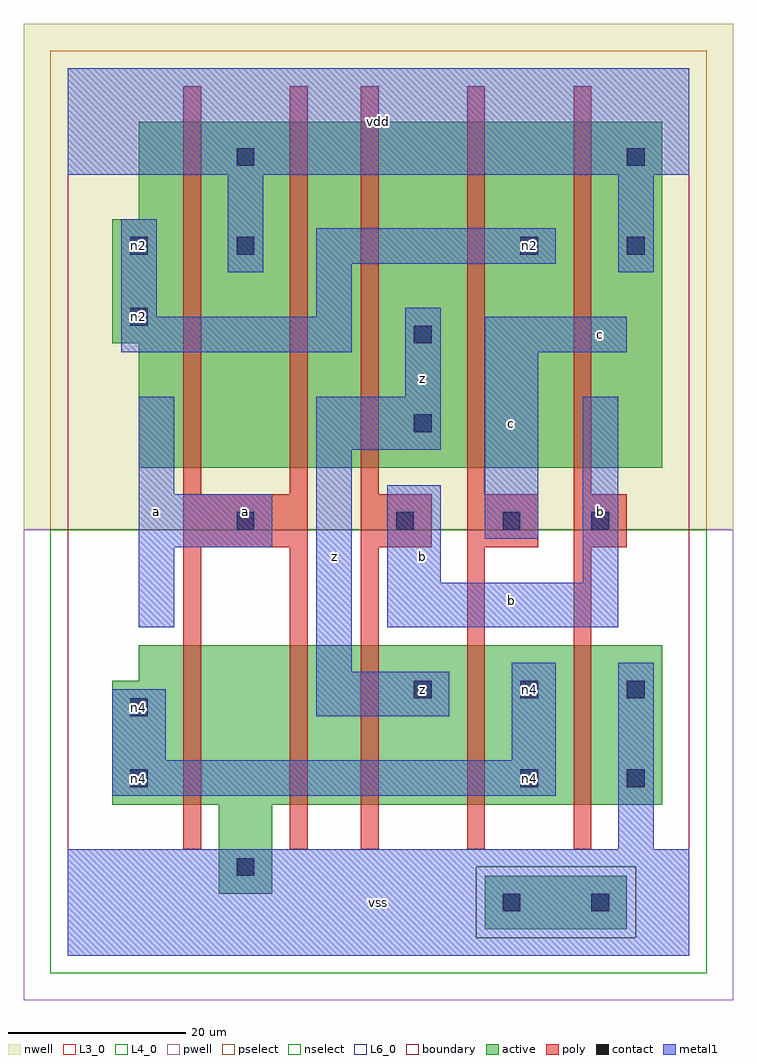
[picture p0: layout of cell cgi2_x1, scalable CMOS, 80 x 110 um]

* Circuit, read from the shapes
.subckt cgi2_x1 a b c n2 n4 vdd vss z
M1 vss a n4 vss nfet w=18u l=2u
M2 n1 a vss vss nfet w=18u l=2u
M3 z b n1 vss nfet w=18u l=2u
M4 n4 c z vss nfet w=18u l=2u
M5 vss b n4 vss nfet w=18u l=2u
M6 vdd a n2 n3 pfet w=39u l=2u
M7 n5 a vdd n3 pfet w=39u l=2u
M8 z b n5 n3 pfet w=39u l=2u
M9 n2 c z n3 pfet w=39u l=2u
M10 vdd b n2 n3 pfet w=39u l=2u
.ends

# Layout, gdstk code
import gdstk
lib = gdstk.Library(unit=1e-6, precision=1e-09)
def R(c, l, rs):  # rectangles x0, y0, x1, y1
    for r in rs: c.add(gdstk.rectangle(r[:2], r[2:], *l))
def A(c, l, x, y, w, h, nx, ny, dx, dy):  # array of equal rectangles
    R(c, l, [(x+i*dx, y+j*dy, x+i*dx+w, y+j*dy+h) for i in range(nx) for j in range(ny)])
L3_0 = (3, 0)
L4_0 = (4, 0)
L6_0 = (6, 0)
contact = (25, 0)
pwell = (41, 0)
nwell = (42, 0)
active = (43, 0)
pselect = (44, 0)
nselect = (45, 0)
poly = (46, 0)
metal1 = (49, 0)
boundary = (63, 0)

cgi2_x1 = lib.new_cell('cgi2_x1')
R(cgi2_x1, L3_0, [(17,7,23,17), (5,17,67,31), (8,31,67,35)])
R(cgi2_x1, L4_0, [(8,55,67,69), (5,69,67,83), (8,83,67,94)])
R(cgi2_x1, L6_0, [(47,3,63,9)])
A(cgi2_x1, contact, 39, 29, 2, 2, 3, 1, 12, 0)
R(cgi2_x1, contact, [(49,5,51,7), (59,5,61,7), (19,9,21,11), (7,19,9,21), (51,19,53,21), (63,19,65,21), (7,27,9,29), (19,48,21,50), (37,48,39,50), (49,48,51,50), (59,48,61,50), (39,59,41,61), (39,69,41,71), (7,71,9,73), (7,79,9,81), (19,79,21,81), (51,79,53,81), (63,79,65,81), (19,89,21,91), (63,89,65,91)])
R(cgi2_x1, pwell, [(-5,-5,75,48)])
R(cgi2_x1, nwell, [(-5,48,75,105)])
R(cgi2_x1, active, [(47,3,63,9), (17,7,23,17), (5,17,67,31), (8,31,67,35), (8,55,67,69), (5,69,67,83), (8,83,67,94)])
R(cgi2_x1, pselect, [(46,2,64,10), (-2,48,72,102)])
R(cgi2_x1, nselect, [(-2,-2,72,2), (-2,2,46,10), (64,2,72,10), (-2,10,72,48)])
A(cgi2_x1, poly, 33, 12, 2, 34, 3, 1, 12, 0)
A(cgi2_x1, poly, 33, 52, 2, 46, 3, 1, 12, 0)
R(cgi2_x1, poly, [(13,12,15,46), (25,12,27,46), (13,46,27,52), (33,46,41,52), (45,46,53,52), (57,46,63,52), (13,52,15,98), (25,52,27,98)])
R(cgi2_x1, metal1, [(0,0,70,12), (62,12,66,33), (5,18,55,22), (5,22,11,30), (50,22,55,33), (28,27,43,32), (28,32,32,57), (8,37,12,46), (36,37,62,42), (36,42,42,53), (58,42,62,63), (8,46,23,52), (47,47,53,68), (8,52,12,63), (28,57,42,63), (38,63,42,73), (6,68,32,72), (47,68,63,72), (6,72,10,83), (28,72,32,78), (18,77,22,88), (62,77,66,88), (28,78,55,82), (0,88,70,100)])
R(cgi2_x1, boundary, [(0,0,70,100)])
cgi2_x1.add(gdstk.Label('n4', (8,20), layer=49, texttype=0))
cgi2_x1.add(gdstk.Label('n4', (8,28), layer=49, texttype=0))
cgi2_x1.add(gdstk.Label('n2', (8,72), layer=49, texttype=0))
cgi2_x1.add(gdstk.Label('n2', (8,80), layer=49, texttype=0))
cgi2_x1.add(gdstk.Label('n4', (52,20), layer=49, texttype=0))
cgi2_x1.add(gdstk.Label('n4', (52,30), layer=49, texttype=0))
cgi2_x1.add(gdstk.Label('n2', (52,80), layer=49, texttype=0))
cgi2_x1.add(gdstk.Label('a', (10,50), layer=49, texttype=0))
cgi2_x1.add(gdstk.Label('z', (30,45), layer=49, texttype=0))
cgi2_x1.add(gdstk.Label('a', (20,50), layer=49, texttype=0))
cgi2_x1.add(gdstk.Label('vss', (35,6), layer=49, texttype=0))
cgi2_x1.add(gdstk.Label('b', (40,45), layer=49, texttype=0))
cgi2_x1.add(gdstk.Label('b', (50,40), layer=49, texttype=0))
cgi2_x1.add(gdstk.Label('z', (40,30), layer=49, texttype=0))
cgi2_x1.add(gdstk.Label('z', (40,65), layer=49, texttype=0))
cgi2_x1.add(gdstk.Label('c', (50,60), layer=49, texttype=0))
cgi2_x1.add(gdstk.Label('vdd', (35,94), layer=49, texttype=0))
cgi2_x1.add(gdstk.Label('b', (60,50), layer=49, texttype=0))
cgi2_x1.add(gdstk.Label('c', (60,70), layer=49, texttype=0))

lib.write_gds('cgi2_x1.gds')
